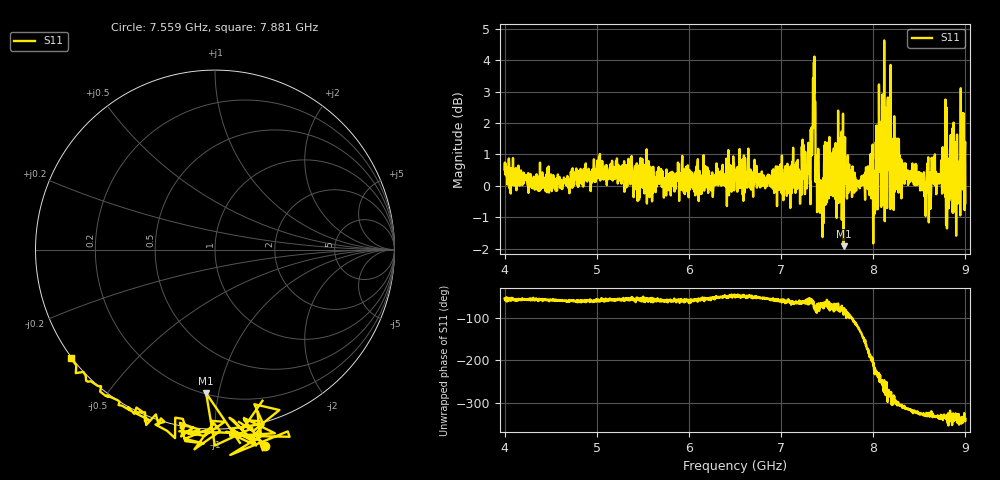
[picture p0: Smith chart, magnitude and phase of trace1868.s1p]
! Created with skrf 1.8.0 (http://scikit-rf.org).
# Hz S RI R 50.0
!freq ReS11 ImS11
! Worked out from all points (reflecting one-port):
!   1601 points, 4 GHz to 9 GHz, reference 50 ohm
!   lowest |S11| = -1.9 dB at 7.678 GHz (marker M1), VSWR 9.07, Z = 10.3 - j45.9 ohm
!   phase of S11 starts at -56 deg and turns -280 deg over the sweep
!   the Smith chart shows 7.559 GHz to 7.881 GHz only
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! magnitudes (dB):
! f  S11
! 4 GHz  0.5
! 4.625 GHz  -0.1
! 5.25 GHz  0.2
! 5.875 GHz  0.2
! 6.5 GHz  0.2
! 7.075 GHz  -0.2
! 7.125 GHz  0.8
! 7.294 GHz  0.7
! 7.347 GHz  3.4
! 7.372 GHz  2.3
! 7.4 GHz  -0.3
! 7.438 GHz  0.0
! 7.503 GHz  0.4
! 7.609 GHz  0.6
! 7.678 GHz  -1.9
! 7.75 GHz  0.3
! 8 GHz  -1.8
! 8.053 GHz  0.7
! 8.066 GHz  1.3
! 8.097 GHz  0.8
! 8.375 GHz  0.5
! 8.553 GHz  0.3
! 8.772 GHz  0.2
! 8.812 GHz  0.3
! 8.853 GHz  0.0
! 8.919 GHz  -0.5
! 8.972 GHz  0.5
! 9 GHz  -0.5
